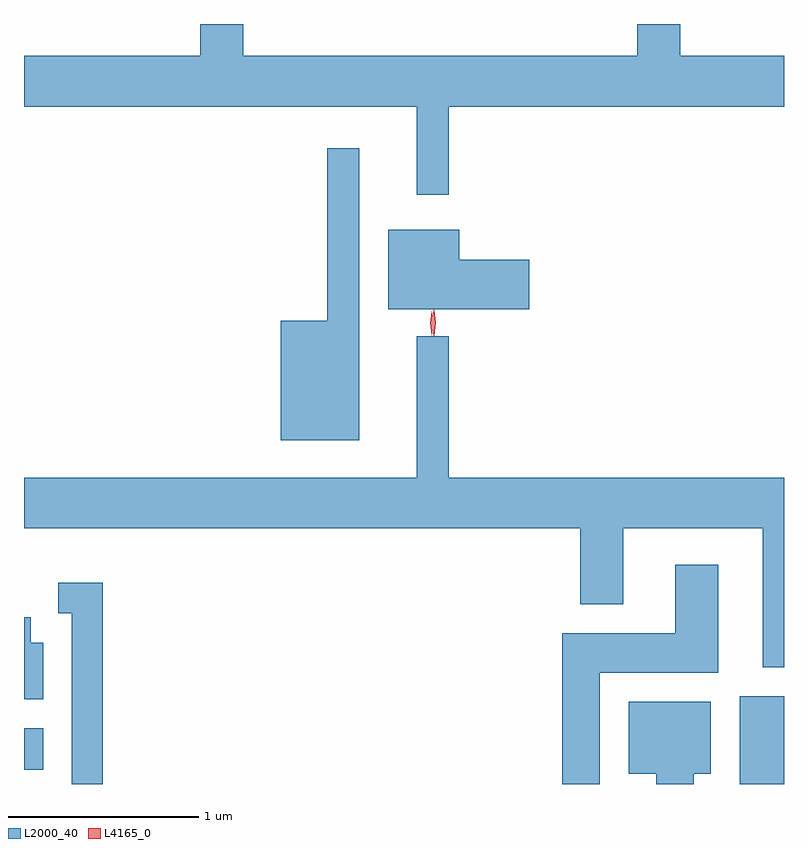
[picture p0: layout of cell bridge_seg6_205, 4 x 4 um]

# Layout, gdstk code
import gdstk
lib = gdstk.Library(unit=1e-6, precision=1e-09)
def R(c, l, rs):  # rectangles x0, y0, x1, y1
    for r in rs: c.add(gdstk.rectangle(r[:2], r[2:], *l))
def P(c, l, *ps):  # polygons
    for p in ps: c.add(gdstk.Polygon(p, *l))
L2000_40 = (2000, 40)
L4165_0 = (4165, 0)

bridge_seg6_205 = lib.new_cell('bridge_seg6_205')
R(bridge_seg6_205, L2000_40, [(1123.471,1557.571,1123.704,1558.034), (1119.704,1557.646,1119.804,1557.864)])
P(bridge_seg6_205, L2000_40, [(1121.939,1561.136),(1123.704,1561.136),(1123.704,1561.404),(1123.159,1561.404),(1123.159,1561.571),(1122.931,1561.571),(1122.931,1561.404),(1120.859,1561.404),(1120.859,1561.571),(1120.631,1561.571),(1120.631,1561.404),(1119.704,1561.404),(1119.704,1561.136),(1121.771,1561.136),(1121.771,1560.673),(1121.939,1560.673)],
  [(1121.469,1560.918),(1121.301,1560.918),(1121.301,1560.009),(1121.056,1560.009),(1121.056,1559.381),(1121.469,1559.381)],
  [(1122.364,1560.329),(1121.994,1560.329),(1121.994,1560.489),(1121.621,1560.489),(1121.621,1560.071),(1122.364,1560.071)],
  [(1123.704,1559.184),(1121.939,1559.184),(1121.939,1559.928),(1121.771,1559.928),(1121.771,1559.184),(1119.704,1559.184),(1119.704,1558.916),(1122.631,1558.916),(1122.631,1558.516),(1122.859,1558.516),(1122.859,1558.916),(1123.591,1558.916),(1123.591,1558.186),(1123.704,1558.186)],
  [(1122.734,1558.156),(1123.359,1558.156),(1123.359,1558.724),(1123.131,1558.724),(1123.131,1558.364),(1122.536,1558.364),(1122.536,1557.571),(1122.734,1557.571)],
  [(1120.119,1558.629),(1119.883,1558.629),(1119.883,1558.471),(1119.956,1558.471),(1119.956,1557.571),(1120.119,1557.571)],
  [(1119.804,1558.314),(1119.739,1558.314),(1119.739,1558.449),(1119.704,1558.449),(1119.704,1558.016),(1119.804,1558.016)],
  [(1123.229,1557.626),(1123.319,1557.626),(1123.319,1558.004),(1122.886,1558.004),(1122.886,1557.626),(1123.031,1557.626),(1123.031,1557.571),(1123.229,1557.571)])
P(bridge_seg6_205, L4165_0, [(1121.861,1559.93),(1121.861,1559.93),(1121.851,1559.998),(1121.861,1560.065),(1121.861,1560.066),(1121.862,1560.065),(1121.871,1559.998),(1121.862,1559.93)],
  [(1121.851,1559.933),(1121.85,1559.934),(1121.841,1559.996),(1121.85,1560.06),(1121.85,1560.06),(1121.851,1560.06),(1121.861,1559.996),(1121.851,1559.934)])

lib.write_gds('bridge_seg6_205.gds')
